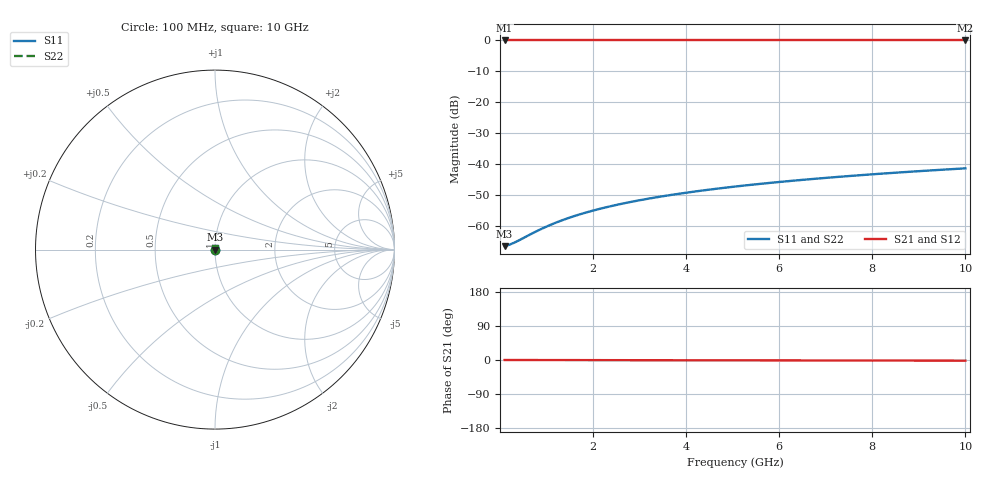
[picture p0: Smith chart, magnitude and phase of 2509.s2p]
# Hz S RI R 50.00
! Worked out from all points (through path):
!   100 points, 100 MHz to 10 GHz, reference 50 ohm
!   highest |S21| = 0.00 dB at 100 MHz (marker M1); lowest = 0.0 dB at 10 GHz (marker M2)
!   lowest |S11| = -66.5 dB at 100 MHz (marker M3), VSWR 1.00, Z = 50 + j0.00852 ohm
!   |S11| at or under -10 dB: start of sweep to end of sweep
!   |S22| runs from -66.5 to -41.4 dB; largest |S21 - S12| = 0
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1e8  0.000463 8.51e-05  0.9995 -0.000301  0.9995 -0.000301  0.000463 8.51e-05
2e8  0.000466 0.00017  0.9995 -0.000601  0.9995 -0.000601  0.000466 0.00017
3e8  0.000469 0.000255  0.9995 -0.000902  0.9995 -0.000902  0.000469 0.000255
8e8  0.000477 0.000681  0.9995 -0.0024  0.9995 -0.0024  0.000477 0.000681
9e8  0.000478 0.000766  0.9995 -0.00271  0.9995 -0.00271  0.000478 0.000766
1.1e9  0.000481 0.000936  0.9995 -0.00331  0.9995 -0.00331  0.000481 0.000936
1.4e9  0.000485 0.00119  0.9995 -0.00421  0.9995 -0.00421  0.000485 0.00119
1.6e9  0.000488 0.00136  0.9995 -0.00481  0.9995 -0.00481  0.000488 0.00136
1.8e9  0.000491 0.00153  0.9995 -0.00541  0.9995 -0.00541  0.000491 0.00153
2.1e9  0.000496 0.00179  0.9995 -0.00631  0.9995 -0.00631  0.000496 0.00179
2.5e9  0.000502 0.00213  0.9995 -0.00752  0.9995 -0.00752  0.000502 0.00213
2.9e9  0.00051 0.00247  0.9995 -0.00872  0.9995 -0.00872  0.00051 0.00247
3.4e9  0.00052 0.00289  0.9994 -0.0102  0.9994 -0.0102  0.00052 0.00289
3.8e9  0.000529 0.00323  0.9994 -0.0114  0.9994 -0.0114  0.000529 0.00323
4.2e9  0.000539 0.00357  0.9994 -0.0126  0.9994 -0.0126  0.000539 0.00357
4.6e9  0.000549 0.00391  0.9994 -0.0138  0.9994 -0.0138  0.000549 0.00391
5.1e9  0.000564 0.00434  0.9994 -0.0153  0.9994 -0.0153  0.000564 0.00434
5.9e9  0.000589 0.00502  0.9993 -0.0177  0.9993 -0.0177  0.000589 0.00502
6.7e9  0.000618 0.0057  0.9993 -0.0202  0.9993 -0.0202  0.000618 0.0057
7.5e9  0.00065 0.00638  0.9992 -0.0226  0.9992 -0.0226  0.00065 0.00638
8.4e9  0.00069 0.00715  0.9991 -0.0253  0.9991 -0.0253  0.00069 0.00715
1e10  0.000771 0.00851  0.999 -0.0301  0.999 -0.0301  0.000771 0.00851
